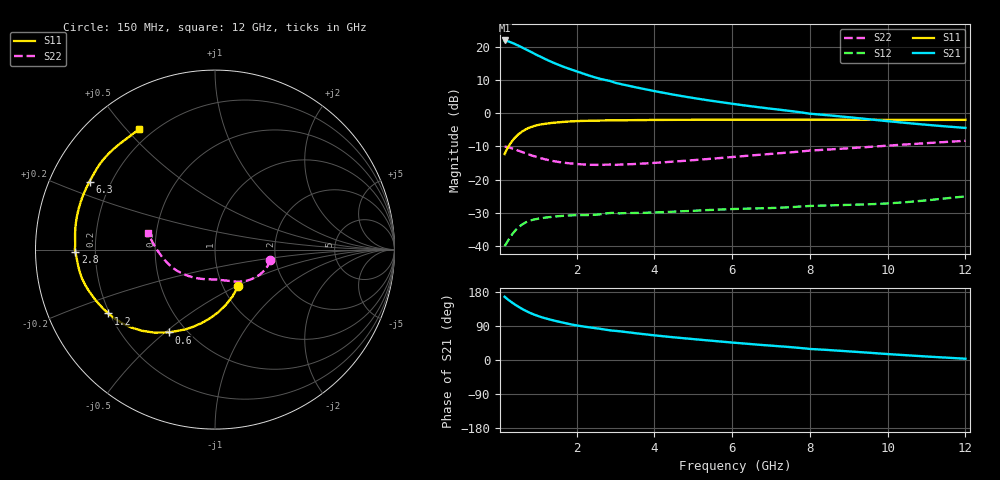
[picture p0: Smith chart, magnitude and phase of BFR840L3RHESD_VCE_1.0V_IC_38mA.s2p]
! Infineon Technologies  Discrete & RF Semiconductors
! BFR840L3RHESD
! VCE =  1.0 V,  IC =  38 mA
! Common Emitter S-Parameters:  Jun 2012
# GHz  S  MA  R  50
!  f  S11  S21  S12  S22
! GHz  MAG  ANG  MAG  ANG  MAG  ANG  MAG  ANG
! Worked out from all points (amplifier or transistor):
!   91 points, 150 MHz to 12 GHz, reference 50 ohm
!   highest |S21| = 21.9 dB at 150 MHz (marker M1)
!   |S21| within 3 dB of that: start of sweep to 749.3 MHz
!   unconditionally stable (mu >= 1): start of sweep to end of sweep
!   at 1.3 GHz: K = 1.41, MAG = 19.7 dB, |S12| = -31.3 dB
!   at 4.3 GHz: K = 2.72, MAG = 10.7 dB, |S12| = -29.8 dB
!   at 12 GHz: K = 4.92, MAG = 0.4 dB, |S12| = -25.1 dB
!   S11 on the Smith chart (normalised r, x): 150 MHz: 1.18, -0.51; 600 MHz: 0.40, -0.51; 1.2 GHz: 0.19, -0.27; 2.8 GHz: 0.12, -0.01; 6.3 GHz: 0.12, +0.25; 12 GHz: 0.15, +0.54
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0.15  0.2416 -57.7  12.45 166.9  0.0099 30.3  0.3139 -10.5
0.25  0.3148 -79.1  12.02 158.5  0.0123 34.6  0.3052 -18.5
0.35  0.384 -94.2  11.43 151.0  0.0151 36.3  0.2931 -25.5
0.45  0.4472 -105.8  10.77 144.1  0.0177 36.5  0.2796 -31.8
0.6  0.5283 -119.1  9.758 134.8  0.021 35.6  0.2593 -40.0
0.7  0.5724 -126.1  9.117 129.4  0.0227 34.6  0.2469 -44.7
0.9  0.6374 -137.1  7.95 120.2  0.0249 31.9  0.2252 -52.5
1  0.6603 -141.6  7.429 116.4  0.0256 30.4  0.2161 -55.8
1.2  0.6929 -149.1  6.514 110.0  0.0267 27.6  0.201 -61.5
1.4  0.7153 -155.2  5.766 104.6  0.0275 25.3  0.1897 -66.5
1.6  0.733 -160.1  5.167 99.7  0.0282 23.9  0.1816 -71.4
1.9  0.7533 -166.1  4.468 93.2  0.0289 23.1  0.1735 -78.1
2.2  0.7648 -171.2  3.894 88.0  0.0291 23.0  0.1684 -83.8
2.8  0.7786 -179.2  3.109 79.2  0.031 22.7  0.1676 -94.6
3.3  0.7825 175.2  2.614 73.4  0.0312 24.1  0.1693 -102.6
4.2  0.7906 167.0  2.044 63.0  0.0322 26.5  0.1812 -116.3
5.1  0.7943 159.8  1.657 54.2  0.034 28.8  0.1977 -128.8
6.1  0.7949 152.8  1.361 45.2  0.036 31.1  0.2205 -141.4
6.3  0.795 151.5  1.312 43.5  0.0363 31.6  0.2255 -143.7
8.5  0.7982 138.1  0.926 26.2  0.0407 35.7  0.2835 -167.4
10.5  0.7904 128.2  0.71 12.4  0.0457 43.2  0.3384 176.1
12  0.7929 122.1  0.599 3.3  0.0557 45.4  0.3832 165.8
